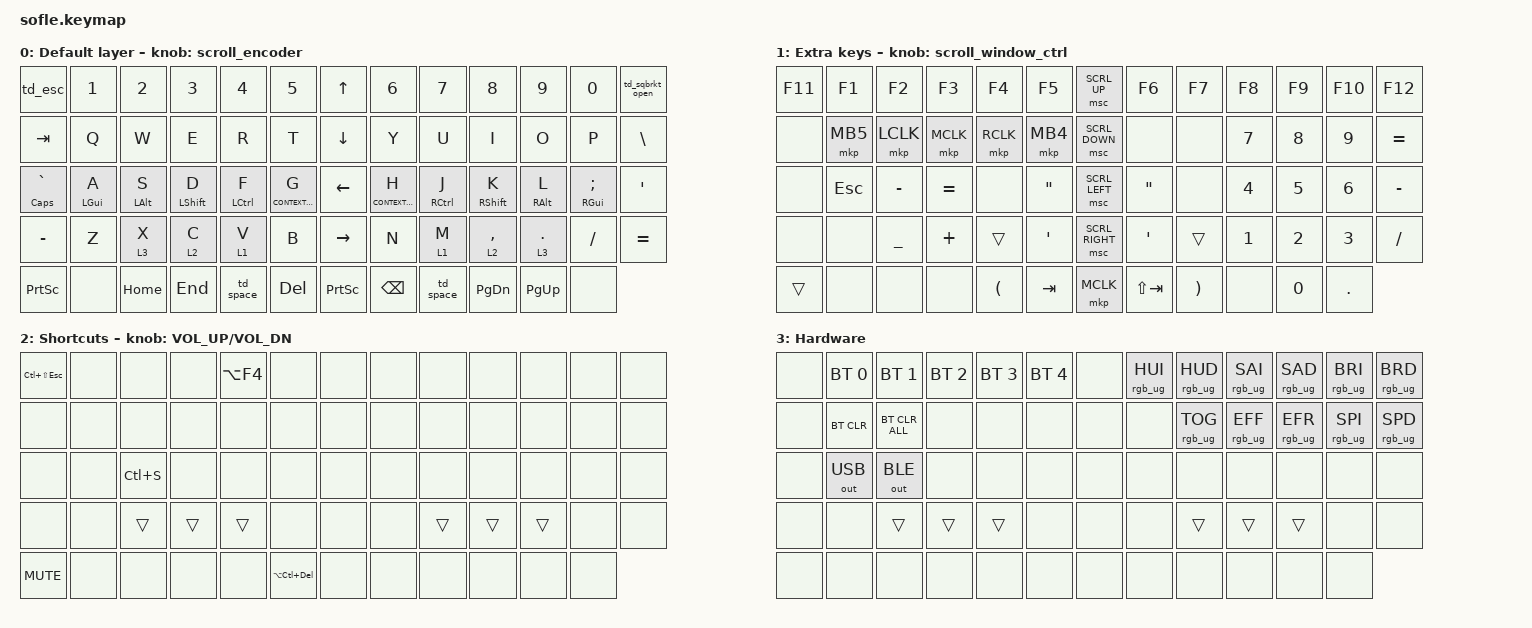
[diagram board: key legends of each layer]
#include <behaviors/mouse_keys.dtsi>
#include <dt-bindings/zmk/mouse.h>
#include <behaviors.dtsi>
#include <dt-bindings/zmk/bt.h>
#include <dt-bindings/zmk/keys.h>
#include <dt-bindings/zmk/outputs.h>
#include <dt-bindings/zmk/pointing.h>
#include <dt-bindings/zmk/rgb.h>

#define ZMK_MOUSE_DEFAULT_MOVE_VAL 1200  // 600
#define ZMK_MOUSE_DEFAULT_SCRL_VAL 20    // 10
#define U_MS_U &mmv MOVE_UP
#define U_MS_D &mmv MOVE_DOWN
#define U_MS_L &mmv MOVE_LEFT
#define U_MS_R &mmv MOVE_RIGHT

&mt { flavor = "balanced"; };

/ {
    behaviors {
        mmv {
            acceleration-exponent = <1>;      // 1
            time-to-max-speed-ms = <900>;    // 40
            delay-ms = <0>;                   // 0
        };

        msc {
            acceleration-exponent = <1>;      // 0
            time-to-max-speed-ms = <400>;      // 500
            delay-ms = <0>;                   //   10
        };
    };

    td_space: td_space {
        compatible = "zmk,behavior-tap-dance";
        label = "mod tap space enter, tap dance into repeat";
        #binding-cells = <0>;
        bindings = <&kp SPACE>, <&kp ENTER>;
    };

    scroll_window_ctrl: scroll_window_ctrl {
        compatible = "zmk,behavior-sensor-rotate";
        #sensor-binding-cells = <0>;
        bindings = <&appswitcher_right>, <&appswitcher_left>;

        tap-ms = <30>;
        label = "SCROLL_WINDOW_CTRL";
    };

    td_sqbrkt_open: td_sqbrkt_open {
        compatible = "zmk,behavior-tap-dance";
        label = "tab td into open square bracket";
        #binding-cells = <0>;
        bindings = <&kp LEFT_BRACKET>, <&kp RIGHT_BRACKET>;
    };

    td_esc: td_esc {
        compatible = "zmk,behavior-tap-dance";
        label = "TD_ESC";
        #binding-cells = <0>;
        bindings = <&kp ESCAPE>, <&kp PRINTSCREEN>;
    };

    scroll_encoder: scroll_encoder {
        compatible = "zmk,behavior-sensor-rotate";
        label = "SCROLL_ENCODER";
        #sensor-binding-cells = <0>;
        bindings = <&msc SCRL_RIGHT>, <&msc SCRL_LEFT>;

        tap-ms = <40>;
    };

    hml: hml {
        compatible = "zmk,behavior-hold-tap";
        bindings = <&kp>, <&kp>;

        #binding-cells = <2>;
        tapping-term-ms = <280>;
        quick-tap-ms = <175>;
        require-prior-idle-ms = <75>;
        flavor = "balanced";
        hold-trigger-key-positions = <6 7 8 10 11 12 19 20 21 22 23 24 25 33 34 35 36 37 38 45 46 47 48 49 50 51 58 59 60 61 62 63 32>;
        hold-trigger-on-release;
    };

    hmr: hmr {
        compatible = "zmk,behavior-hold-tap";
        bindings = <&kp>, <&kp>;

        #binding-cells = <2>;
        tapping-term-ms = <280>;
        quick-tap-ms = <175>;
        require-prior-idle-ms = <75>;
        flavor = "balanced";
        hold-trigger-on-release;
        hold-trigger-key-positions = <0 1 2 3 4 5 13 14 15 16 17 18 26 27 28 29 30 31 39 40 41 42 43 44 52 53 54 55 56 57>;
    };

    hmls: home_row_left_shift {
        compatible = "zmk,behavior-hold-tap";
        bindings = <&kp>, <&kp>;

        #binding-cells = <2>;
        tapping-term-ms = <200>;
        flavor = "balanced";
        hold-trigger-key-positions = <6 7 8 10 11 12 19 20 21 22 23 24 25 33 34 35 36 37 38 45 46 47 48 49 50 51 58 59 60 61 62 63 32>;
        hold-trigger-on-release;
    };

    hmrs: home_row_right_shift {
        compatible = "zmk,behavior-hold-tap";
        bindings = <&kp>, <&kp>;

        #binding-cells = <2>;
        tapping-term-ms = <200>;
        flavor = "balanced";
        hold-trigger-on-release;
        hold-trigger-key-positions = <0 1 2 3 4 5 13 14 15 16 17 18 26 27 28 29 30 31 39 40 41 42 43 44 52 53 54 55 56 57>;
    };

    macros {
        appswitcher_right: appswitcher_right {
            compatible = "zmk,behavior-macro";
            #binding-cells = <0>;
            bindings =
                <&macro_press>,
                <&kp LEFT_ALT>,
                <&macro_tap>,
                <&kp TAB>,
                <&macro_tap>,
                <&sk LEFT_ALT>,
                <&macro_release>,
                <&kp LEFT_ALT>;

            label = "APPSWITCHER_RIGHT";
            wait-ms = <100>;
            tap-ms = <40>;
        };

        appswitcher_left: appswitcher_left {
            compatible = "zmk,behavior-macro";
            #binding-cells = <0>;
            bindings =
                <&macro_press>,
                <&kp LEFT_ALT>,
                <&macro_tap>,
                <&kp TAB &kp LEFT &kp LEFT>,
                <&macro_tap>,
                <&sk LEFT_ALT>,
                <&macro_release>,
                <&kp LEFT_ALT>;

            label = "APPSWITCHER_LEFT";
            wait-ms = <100>;
            tap-ms = <40>;
        };

        par_start: par_start {
            compatible = "zmk,behavior-macro";
            #binding-cells = <0>;
            bindings = <&kp LEFT_PARENTHESIS &kp RIGHT_PARENTHESIS &kp LEFT>;
            label = "PAR_START";
        };

        brkt_start: brkt_start {
            compatible = "zmk,behavior-macro";
            #binding-cells = <0>;
            bindings = <&kp LEFT_BRACKET &kp RIGHT_BRACKET &kp LEFT>;
            label = "BRKT_START";
        };

        quote_start: quote_start {
            compatible = "zmk,behavior-macro";
            #binding-cells = <0>;
            bindings = <&kp SINGLE_QUOTE &kp SINGLE_QUOTE &kp LEFT>;
            label = "QUOTE_START";
        };

        msc_scroll_left: msc_scroll_left {
            compatible = "zmk,behavior-macro";
            #binding-cells = <0>;
            bindings = <&msc SCRL_LEFT>;
            label = "MSC_SCROLL_LEFT";
        };

        msc_scroll_right: msc_scroll_right {
            compatible = "zmk,behavior-macro";
            #binding-cells = <0>;
            bindings = <&msc SCRL_RIGHT>;
            label = "MSC_SCROLL_RIGHT";
        };
    };

    keymap {
        compatible = "zmk,keymap";

        Default {
            bindings = <
&td_esc          &kp N1           &kp N2           &kp N3              &kp N4               &kp N5                   &kp UP_ARROW     &kp N6                 &kp N7                &kp N8               &kp N9            &kp N0                    &td_sqbrkt_open
&kp TAB          &kp Q            &kp W            &kp E               &kp R                &kp T                    &kp DOWN         &kp Y                  &kp U                 &kp I                &kp O             &kp P                     &kp BACKSLASH
&hml CAPS GRAVE  &hml LEFT_GUI A  &hml LEFT_ALT S  &hmls LEFT_SHIFT D  &hml LEFT_CONTROL F  &hml K_CONTEXT_MENU G    &kp LEFT         &hmr K_CONTEXT_MENU H  &hmr RIGHT_CONTROL J  &hmrs RIGHT_SHIFT K  &hmr RIGHT_ALT L  &hmr RIGHT_GUI SEMICOLON  &kp SINGLE_QUOTE
&kp MINUS        &kp Z            &lt 3 X          &lt 2 C             &lt 1 V              &kp B                    &kp RIGHT        &kp N                  &lt 1 M               &lt 2 COMMA          &lt 3 DOT         &kp FSLH                  &kp EQUAL
&kp PRINTSCREEN  &none            &kp HOME         &kp END             &td_space            &kp DELETE               &kp PRINTSCREEN  &kp BACKSPACE          &td_space             &kp PAGE_DOWN        &kp PAGE_UP       &none
            >;

            sensor-bindings = <&scroll_encoder>;
            display-name = "Default layer";
            label = "Default";
        };

        Keypad {
            bindings = <
&kp F11  &kp F1      &kp F2     &kp F3     &kp F4                &kp F5               &msc SCRL_UP     &kp F6             &kp F7                 &kp F8  &kp F9  &kp F10  &kp F12
&none    &mkp MB5    &mkp LCLK  &mkp MCLK  &mkp RCLK             &mkp MB4             &msc SCRL_DOWN   &none              &none                  &kp N7  &kp N8  &kp N9   &kp EQUAL
&none    &kp ESCAPE  &kp MINUS  &kp EQUAL  &none                 &kp DOUBLE_QUOTES    &msc SCRL_LEFT   &kp DOUBLE_QUOTES  &none                  &kp N4  &kp N5  &kp N6   &kp MINUS
&none    &none       &kp UNDER  &kp PLUS   &trans                &kp SQT              &msc SCRL_RIGHT  &kp SQT            &trans                 &kp N1  &kp N2  &kp N3   &kp FSLH
&trans   &none       &none      &none      &kp LEFT_PARENTHESIS  &kp TAB              &mkp MCLK        &kp LS(TAB)        &kp RIGHT_PARENTHESIS  &none   &kp N0  &kp DOT
            >;

            display-name = "Extra keys";
            sensor-bindings = <&scroll_window_ctrl>;
            label = "Keypad";
        };

        Shortcuts {
            bindings = <
&kp LC(LS(ESCAPE))  &none  &none      &none   &kp LA(F4)  &none                 &none  &none  &none   &none   &none   &none  &none
&none               &none  &none      &none   &none       &none                 &none  &none  &none   &none   &none   &none  &none
&none               &none  &kp LC(S)  &none   &none       &none                 &none  &none  &none   &none   &none   &none  &none
&none               &none  &trans     &trans  &trans      &none                 &none  &none  &trans  &trans  &trans  &none  &none
&kp K_MUTE          &none  &none      &none   &none       &kp LA(LC(DELETE))    &none  &none  &none   &none   &none   &none
            >;

            sensor-bindings = <&inc_dec_kp C_VOL_UP C_VOL_DN>;
            label = "Shortcuts";
        };

        Hardware {
            bindings = <
&none  &bt BT_SEL 0  &bt BT_SEL 1    &bt BT_SEL 2  &bt BT_SEL 3  &bt BT_SEL 4    &none  &rgb_ug RGB_HUI  &rgb_ug RGB_HUD  &rgb_ug RGB_SAI  &rgb_ug RGB_SAD  &rgb_ug RGB_BRI  &rgb_ug RGB_BRD
&none  &bt BT_CLR    &bt BT_CLR_ALL  &none         &none         &none           &none  &none            &rgb_ug RGB_TOG  &rgb_ug RGB_EFF  &rgb_ug RGB_EFR  &rgb_ug RGB_SPI  &rgb_ug RGB_SPD
&none  &out OUT_USB  &out OUT_BLE    &none         &none         &none           &none  &none            &none            &none            &none            &none            &none
&none  &none         &trans          &trans        &trans        &none           &none  &none            &trans           &trans           &trans           &none            &none
&none  &none         &none           &none         &none         &none           &none  &none            &none            &none            &none            &none
            >;

            label = "Hardware";
        };
    };
};
